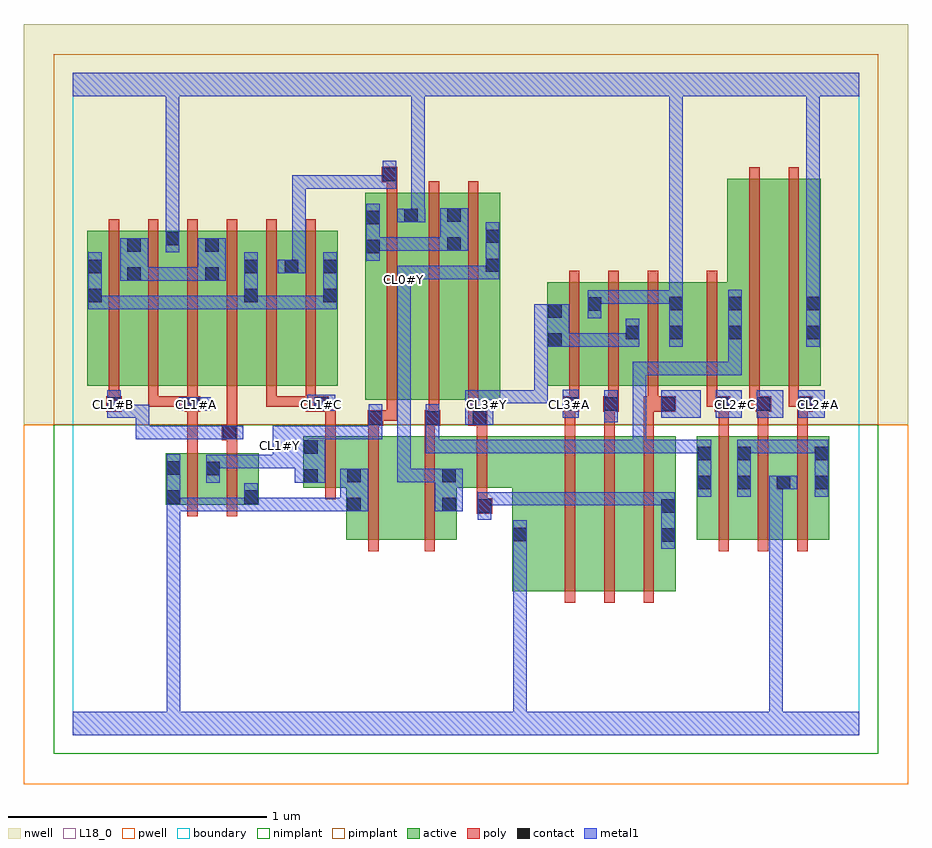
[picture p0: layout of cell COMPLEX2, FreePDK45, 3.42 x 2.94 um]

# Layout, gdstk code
import gdstk
lib = gdstk.Library(unit=1e-6, precision=1e-09)
def R(c, l, rs):  # rectangles x0, y0, x1, y1
    for r in rs: c.add(gdstk.rectangle(r[:2], r[2:], *l))
def A(c, l, x, y, w, h, nx, ny, dx, dy):  # array of equal rectangles
    R(c, l, [(x+i*dx, y+j*dy, x+i*dx+w, y+j*dy+h) for i in range(nx) for j in range(ny)])
active = (1, 0)
pwell = (2, 0)
nwell = (3, 0)
nimplant = (4, 0)
pimplant = (5, 0)
poly = (9, 0)
contact = (10, 0)
metal1 = (11, 0)
L18_0 = (18, 0)
boundary = (235, 0)

complex2 = lib.new_cell('COMPLEX2')
A(complex2, active, 0.356, 1.35, 0.06, 0.6, 3, 1, 0.152, 0)
R(complex2, active, [(1.698,0.556,1.998,1.156), (1.998,0.556,2.15,1.156), (2.15,0.556,2.33,1.156), (2.27,0.556,2.33,1.156), (1.698,0.684,1.758,1.028), (1.058,0.756,1.304,1.156), (1.304,0.756,1.484,1.156), (1.424,0.756,1.484,1.156), (2.412,0.756,2.472,1.156), (2.412,0.756,2.624,1.156), (2.564,0.756,2.776,1.156), (2.564,0.756,2.624,1.118), (2.716,0.756,2.924,1.156), (2.716,0.756,2.776,1.006), (2.864,0.756,2.924,1.156), (1.058,0.862,1.118,1.034), (0.36,0.89,0.42,1.09), (0.36,0.89,0.572,1.09), (0.512,0.89,0.72,1.09), (0.66,0.89,0.72,1.09), (0.512,0.892,0.572,1.088), (0.892,0.956,1.118,1.156), (0.892,0.956,0.952,1.156), (1.424,0.956,1.758,1.156), (1.13,1.296,1.19,2.044), (1.13,1.296,1.338,2.096), (1.278,1.296,1.504,2.096), (1.444,1.296,1.652,2.096), (1.592,1.296,1.652,2.044), (1.444,1.316,1.504,2.044), (0.056,1.35,0.116,1.95), (0.056,1.35,0.268,1.95), (0.208,1.35,0.268,1.95), (0.208,1.35,0.416,1.95), (0.356,1.35,0.568,1.95), (0.508,1.35,0.72,1.95), (0.66,1.35,0.876,1.95), (0.816,1.35,0.876,1.95), (0.816,1.35,1.024,1.95), (0.964,1.35,1.024,1.95), (1.834,1.35,1.894,1.75), (1.834,1.35,2.046,1.75), (1.986,1.35,2.194,1.75), (2.134,1.35,2.362,1.75), (2.302,1.35,2.362,1.75), (2.302,1.35,2.59,1.75), (2.53,1.35,2.71,2.15), (2.53,1.35,2.59,1.716), (2.71,1.35,2.89,2.15), (2.83,1.35,2.89,2.044), (1.278,1.426,1.338,2.044), (1.986,1.454,2.046,1.75), (2.134,1.526,2.194,1.644)])
R(complex2, pwell, [(-0.188,-0.188,3.228,1.2)])
R(complex2, nwell, [(-0.188,1.2,3.228,2.748)])
R(complex2, nimplant, [(-0.072,-0.072,3.112,1.2)])
R(complex2, pimplant, [(-0.072,1.2,3.112,2.632)])
A(complex2, poly, 1.902, 0.512, 0.04, 0.688, 3, 1, 0.152, 0)
A(complex2, poly, 2.496, 0.712, 0.04, 0.488, 3, 1, 0.152, 0)
A(complex2, poly, 1.902, 1.16, 0.04, 0.13, 3, 1, 0.152, 0)
A(complex2, poly, 2.496, 1.16, 0.04, 0.13, 3, 1, 0.152, 0)
A(complex2, poly, 2.48, 1.25, 0.06, 0.06, 3, 1, 0.16, 0)
A(complex2, poly, 0.14, 1.27, 0.04, 0.076, 3, 1, 0.152, 0)
A(complex2, poly, 1.918, 1.27, 0.04, 0.076, 3, 1, 0.152, 0)
A(complex2, poly, 2.48, 1.27, 0.04, 0.04, 3, 1, 0.16, 0)
A(complex2, poly, 0.14, 1.306, 0.04, 0.688, 6, 1, 0.152, 0)
A(complex2, poly, 1.918, 1.306, 0.04, 0.488, 3, 1, 0.152, 0)
R(complex2, poly, [(1.142,0.712,1.182,1.2), (1.36,0.712,1.4,1.2), (0.444,0.846,0.484,1.134), (0.596,0.846,0.636,1.134), (1.562,0.856,1.622,0.916), (1.562,0.876,1.602,0.952), (0.976,0.912,1.016,1.2), (1.562,0.912,1.602,1.2), (0.444,1.094,0.484,1.29), (0.596,1.094,0.636,1.18), (0.576,1.14,0.636,1.2), (0.596,1.16,0.636,1.2), (0.596,1.16,0.636,1.2), (0.596,1.16,0.636,1.346), (0.976,1.16,1.016,1.29), (1.142,1.16,1.182,1.236), (1.36,1.16,1.4,1.236), (1.562,1.16,1.602,1.236), (1.14,1.196,1.2,1.256), (1.36,1.196,1.42,1.256), (1.528,1.196,1.602,1.256), (1.562,1.196,1.602,1.236), (1.562,1.196,1.602,1.236), (1.16,1.216,1.2,1.256), (1.16,1.216,1.254,1.256), (1.214,1.216,1.254,1.292), (1.376,1.216,1.416,1.292), (1.376,1.216,1.416,1.256), (1.376,1.216,1.416,1.256), (1.528,1.216,1.568,1.292), (0.13,1.25,0.19,1.31), (0.434,1.25,0.494,1.31), (0.444,1.25,0.484,1.29), (0.444,1.25,0.484,1.29), (0.9,1.25,0.99,1.31), (0.95,1.25,0.99,1.29), (0.95,1.25,1.016,1.29), (1.898,1.25,1.958,1.31), (1.902,1.25,1.942,1.29), (1.902,1.25,1.942,1.29), (2.05,1.25,2.11,1.31), (2.054,1.25,2.094,1.29), (2.054,1.25,2.094,1.29), (2.206,1.25,2.33,1.31), (1.214,1.252,1.254,2.14), (1.376,1.252,1.416,2.14), (1.528,1.252,1.568,2.14), (0.14,1.27,0.18,1.31), (0.14,1.27,0.18,1.31), (0.292,1.27,0.332,1.31), (0.292,1.27,0.474,1.31), (0.434,1.27,0.474,1.31), (0.434,1.27,0.474,1.31), (0.748,1.27,0.788,1.346), (0.748,1.27,0.788,1.31), (0.748,1.27,0.94,1.31), (0.9,1.27,0.94,1.346), (0.9,1.27,0.94,1.31), (0.9,1.27,0.94,1.31), (2.222,1.27,2.262,1.31), (2.222,1.27,2.262,1.31), (2.45,1.27,2.49,1.346), (2.45,1.27,2.52,1.31), (2.614,1.27,2.654,1.346), (2.614,1.27,2.68,1.31), (2.766,1.27,2.806,1.346), (2.766,1.27,2.84,1.31), (2.45,1.306,2.49,1.794), (2.614,1.306,2.654,2.194), (2.766,1.306,2.806,2.194), (1.214,2.1,1.254,2.176), (1.194,2.136,1.254,2.196)])
A(complex2, contact, 2.416, 0.95, 0.052, 0.052, 3, 1, 0.152, 0)
A(complex2, contact, 2.484, 1.254, 0.052, 0.052, 3, 1, 0.16, 0)
R(complex2, contact, [(2.274,0.748,2.326,0.8), (1.702,0.75,1.754,0.802), (1.566,0.86,1.618,0.912), (2.274,0.86,2.326,0.912), (1.062,0.866,1.114,0.918), (1.428,0.866,1.48,0.918), (0.364,0.894,0.416,0.946), (0.664,0.894,0.716,0.946), (2.868,0.95,2.92,1.002), (0.896,0.976,0.948,1.028), (1.062,0.978,1.114,1.03), (1.428,0.978,1.48,1.03), (0.516,1.004,0.568,1.056), (0.364,1.006,0.416,1.058), (2.416,1.062,2.468,1.114), (2.568,1.062,2.62,1.114), (2.868,1.062,2.92,1.114), (0.896,1.088,0.948,1.14), (0.58,1.144,0.632,1.196), (1.144,1.2,1.196,1.252), (1.364,1.2,1.416,1.252), (1.546,1.2,1.598,1.252), (0.134,1.254,0.186,1.306), (0.438,1.254,0.49,1.306), (0.934,1.254,0.986,1.306), (1.902,1.254,1.954,1.306), (2.054,1.254,2.106,1.306), (2.274,1.254,2.326,1.306), (1.838,1.502,1.89,1.554), (2.138,1.53,2.19,1.582), (2.306,1.53,2.358,1.582), (2.534,1.53,2.586,1.582), (2.834,1.53,2.886,1.582), (1.838,1.614,1.89,1.666), (1.99,1.64,2.042,1.692), (2.306,1.642,2.358,1.694), (2.534,1.642,2.586,1.694), (2.834,1.642,2.886,1.694), (0.06,1.674,0.112,1.726), (0.664,1.674,0.716,1.726), (0.968,1.674,1.02,1.726), (0.212,1.756,0.264,1.808), (0.512,1.756,0.564,1.808), (0.06,1.786,0.112,1.838), (0.664,1.786,0.716,1.838), (0.82,1.786,0.872,1.838), (0.968,1.786,1.02,1.838), (1.596,1.79,1.648,1.842), (1.134,1.862,1.186,1.914), (0.212,1.868,0.264,1.92), (0.512,1.868,0.564,1.92), (1.448,1.872,1.5,1.924), (0.36,1.894,0.412,1.946), (1.596,1.902,1.648,1.954), (1.134,1.974,1.186,2.026), (1.282,1.982,1.334,2.034), (1.448,1.984,1.5,2.036), (1.198,2.14,1.25,2.192)])
A(complex2, metal1, 2.484, 1.226, 0.102, 0.108, 3, 1, 0.16, 0)
R(complex2, metal1, [(0,0,3.04,0.092), (0.364,0.04,0.416,0.092), (0.364,0.04,0.416,0.092), (0.364,0.04,0.416,0.092), (0.364,0.04,0.416,0.092), (0.364,0.04,0.416,0.092), (0.364,0.04,0.416,0.092), (0.364,0.04,0.416,0.092), (0.364,0.04,0.416,0.092), (0.364,0.04,0.416,0.092), (0.364,0.04,0.416,0.092), (0.364,0.04,0.416,0.918), (1.702,0.04,1.754,0.774), (2.692,0.04,2.744,0.092), (2.692,0.04,2.744,0.092), (2.692,0.04,2.744,0.092), (2.692,0.04,2.744,0.092), (2.692,0.04,2.744,0.092), (2.692,0.04,2.744,0.092), (2.692,0.04,2.744,0.092), (2.692,0.04,2.744,0.092), (2.692,0.04,2.744,0.092), (2.692,0.04,2.744,0.092), (2.692,0.04,2.744,0.092), (2.692,0.04,2.744,0.092), (2.692,0.04,2.744,1.002), (2.274,0.72,2.326,0.94), (1.702,0.722,1.754,0.774), (1.702,0.722,1.754,0.774), (1.702,0.722,1.754,0.774), (1.702,0.722,1.754,0.774), (1.702,0.722,1.754,0.774), (1.702,0.722,1.754,0.774), (1.702,0.722,1.754,0.774), (1.702,0.722,1.754,0.774), (1.702,0.722,1.754,0.83), (1.566,0.832,1.618,0.94), (0.364,0.866,0.416,0.918), (0.364,0.866,0.416,0.918), (0.364,0.866,0.416,0.918), (0.364,0.866,0.416,0.918), (0.364,0.866,0.416,0.918), (0.364,0.866,0.416,0.918), (0.364,0.866,0.416,0.918), (0.364,0.866,0.416,0.918), (0.364,0.866,0.416,1.086), (0.364,0.866,0.606,0.918), (0.554,0.866,0.606,0.918), (0.554,0.866,0.606,0.918), (0.554,0.866,0.606,0.918), (0.554,0.866,0.716,0.918), (0.664,0.866,0.716,0.974), (0.664,0.866,0.74,0.918), (0.688,0.866,0.74,0.918), (0.688,0.866,0.91,0.918), (0.858,0.866,0.91,0.918), (0.858,0.866,0.91,0.918), (0.858,0.866,0.91,0.918), (0.858,0.866,1.086,0.918), (1.034,0.866,1.142,1.03), (1.4,0.866,1.508,1.03), (1.566,0.888,1.778,0.94), (1.726,0.888,1.778,0.94), (1.726,0.888,1.778,0.94), (1.726,0.888,1.778,0.94), (1.726,0.888,1.888,0.94), (1.836,0.888,1.888,0.94), (1.836,0.888,2.08,0.94), (2.028,0.888,2.08,0.94), (2.028,0.888,2.08,0.94), (2.028,0.888,2.08,0.94), (2.028,0.888,2.216,0.94), (2.164,0.888,2.216,0.94), (2.164,0.888,2.216,0.94), (2.164,0.888,2.216,0.94), (2.164,0.888,2.326,0.94), (2.416,0.922,2.468,1.142), (2.568,0.922,2.62,1.142), (2.868,0.922,2.92,1.142), (2.692,0.95,2.8,1.002), (0.516,0.976,0.568,1.084), (0.858,0.976,0.976,1.14), (1.254,0.978,1.306,1.03), (1.254,0.978,1.452,1.03), (1.254,0.978,1.306,1.758), (1.4,0.978,1.452,1.03), (1.4,0.978,1.452,1.03), (0.516,1.032,0.568,1.084), (0.516,1.032,0.568,1.084), (0.516,1.032,0.716,1.084), (0.664,1.032,0.716,1.084), (0.664,1.032,0.716,1.084), (0.664,1.032,0.716,1.084), (0.664,1.032,0.91,1.084), (0.774,1.066,0.91,1.196), (0.858,1.066,0.91,1.118), (1.364,1.09,1.628,1.142), (1.364,1.09,1.416,1.224), (1.576,1.09,1.628,1.142), (1.576,1.09,1.628,1.142), (1.576,1.09,1.628,1.142), (1.576,1.09,1.888,1.142), (1.836,1.09,1.888,1.142), (1.836,1.09,1.888,1.142), (1.836,1.09,1.888,1.142), (1.836,1.09,2.08,1.142), (2.028,1.09,2.08,1.142), (2.028,1.09,2.08,1.142), (2.028,1.09,2.08,1.142), (2.028,1.09,2.216,1.142), (2.164,1.09,2.216,1.142), (2.164,1.09,2.216,1.142), (2.164,1.09,2.216,1.142), (2.164,1.09,2.326,1.142), (2.164,1.09,2.216,1.444), (2.274,1.09,2.326,1.142), (2.274,1.09,2.326,1.142), (2.274,1.09,2.326,1.142), (2.274,1.09,2.468,1.142), (2.568,1.09,2.746,1.142), (2.694,1.09,2.746,1.142), (2.694,1.09,2.746,1.142), (2.694,1.09,2.746,1.142), (2.694,1.09,2.856,1.142), (2.804,1.09,2.856,1.142), (2.804,1.09,2.92,1.142), (0.244,1.144,0.296,1.196), (0.244,1.144,0.296,1.196), (0.244,1.144,0.296,1.278), (0.244,1.144,0.426,1.196), (0.374,1.144,0.426,1.196), (0.374,1.144,0.426,1.196), (0.374,1.144,0.426,1.196), (0.374,1.144,0.604,1.196), (0.552,1.144,0.604,1.196), (0.552,1.144,0.604,1.196), (0.552,1.144,0.66,1.196), (0.858,1.144,0.91,1.196), (0.858,1.144,0.91,1.196), (0.858,1.144,1.086,1.196), (1.034,1.144,1.086,1.196), (1.034,1.144,1.196,1.196), (1.144,1.144,1.196,1.224), (1.144,1.172,1.196,1.224), (1.144,1.172,1.196,1.28), (1.364,1.172,1.416,1.224), (1.364,1.172,1.416,1.28), (1.518,1.2,1.626,1.334), (2.054,1.21,2.106,1.334), (0.134,1.226,0.296,1.278), (0.134,1.226,0.186,1.334), (1.894,1.226,1.956,1.336), (2.274,1.226,2.426,1.334), (0.41,1.254,0.534,1.306), (0.906,1.254,1.014,1.316), (1.574,1.282,1.626,1.334), (1.574,1.282,1.626,1.334), (1.574,1.282,1.836,1.334), (1.784,1.282,1.836,1.334), (1.784,1.282,1.836,1.554), (2.164,1.392,2.216,1.444), (2.164,1.392,2.326,1.444), (2.274,1.392,2.326,1.444), (2.274,1.392,2.326,1.444), (2.274,1.392,2.326,1.444), (2.274,1.392,2.476,1.444), (2.424,1.392,2.476,1.444), (2.424,1.392,2.586,1.444), (2.534,1.392,2.586,1.444), (2.534,1.392,2.586,1.444), (2.534,1.392,2.586,1.444), (2.534,1.392,2.586,1.554), (1.784,1.502,1.918,1.666), (1.866,1.502,1.918,1.554), (1.866,1.502,1.918,1.554), (1.866,1.502,2.028,1.554), (1.976,1.502,2.028,1.554), (1.976,1.502,2.028,1.554), (1.976,1.502,2.028,1.554), (1.976,1.502,2.19,1.554), (2.138,1.502,2.19,1.61), (2.306,1.502,2.358,1.722), (2.534,1.502,2.586,1.722), (2.834,1.502,2.886,1.722), (1.99,1.612,2.042,1.72), (0.06,1.646,0.112,1.698), (0.06,1.646,0.112,1.698), (0.06,1.646,0.112,1.866), (0.06,1.646,0.296,1.698), (0.244,1.646,0.296,1.698), (0.244,1.646,0.296,1.698), (0.244,1.646,0.296,1.698), (0.244,1.646,0.426,1.698), (0.374,1.646,0.426,1.698), (0.374,1.646,0.426,1.698), (0.374,1.646,0.426,1.698), (0.374,1.646,0.536,1.698), (0.484,1.646,0.536,1.698), (0.484,1.646,0.536,1.698), (0.484,1.646,0.536,1.698), (0.484,1.646,0.716,1.698), (0.664,1.646,0.716,1.698), (0.664,1.646,0.716,1.698), (0.664,1.646,0.716,1.866), (0.664,1.646,0.826,1.698), (0.774,1.646,0.826,1.698), (0.774,1.646,1.02,1.698), (0.968,1.646,1.02,1.698), (0.968,1.646,1.02,1.698), (0.968,1.646,1.02,1.866), (1.99,1.668,2.042,1.72), (1.99,1.668,2.042,1.72), (1.99,1.668,2.216,1.72), (2.164,1.668,2.216,1.72), (2.164,1.668,2.216,1.72), (2.164,1.668,2.216,1.72), (2.164,1.668,2.358,1.72), (2.306,1.67,2.358,1.722), (2.306,1.67,2.358,1.722), (2.306,1.67,2.358,1.722), (2.306,1.67,2.358,1.722), (2.306,1.67,2.358,1.722), (2.306,1.67,2.358,1.722), (2.306,1.67,2.358,1.722), (2.306,1.67,2.358,1.722), (2.306,1.67,2.358,2.52), (2.834,1.67,2.886,2.52), (1.254,1.706,1.306,1.814), (0.184,1.756,0.292,1.92), (0.24,1.756,0.306,1.808), (0.254,1.756,0.306,1.808), (0.254,1.756,0.426,1.808), (0.374,1.756,0.426,1.808), (0.374,1.756,0.426,1.808), (0.374,1.756,0.426,1.808), (0.374,1.756,0.536,1.808), (0.484,1.756,0.592,1.92), (1.254,1.762,1.306,1.814), (1.254,1.762,1.306,1.814), (1.254,1.762,1.46,1.814), (1.408,1.762,1.46,1.814), (1.408,1.762,1.46,1.814), (1.408,1.762,1.46,1.814), (1.408,1.762,1.46,1.814), (1.408,1.762,1.46,1.814), (1.408,1.762,1.648,1.814), (1.596,1.762,1.648,1.814), (1.596,1.762,1.648,1.814), (1.596,1.762,1.648,1.982), (0.792,1.786,0.9,1.838), (0.848,1.786,0.9,2.164), (1.134,1.834,1.186,2.054), (0.36,1.866,0.412,1.974), (1.134,1.872,1.226,1.924), (1.174,1.872,1.226,1.924), (1.174,1.872,1.306,1.924), (1.254,1.872,1.306,1.924), (1.254,1.872,1.306,1.924), (1.254,1.872,1.306,1.924), (1.254,1.872,1.46,1.924), (1.408,1.872,1.46,1.924), (1.408,1.872,1.472,1.924), (1.42,1.872,1.528,2.036), (0.36,1.922,0.412,2.52), (1.254,1.982,1.362,2.034), (1.308,1.982,1.36,2.52), (0.848,2.112,0.9,2.164), (0.848,2.112,1.02,2.164), (0.968,2.112,1.02,2.164), (0.968,2.112,1.02,2.164), (0.968,2.112,1.02,2.164), (0.968,2.112,1.02,2.164), (0.968,2.112,1.02,2.164), (0.968,2.112,1.13,2.164), (1.078,2.112,1.13,2.164), (1.078,2.112,1.13,2.164), (1.078,2.112,1.13,2.164), (1.078,2.112,1.25,2.164), (1.198,2.112,1.25,2.22), (0,2.468,3.04,2.56), (0.36,2.468,0.412,2.52), (0.36,2.468,0.412,2.52), (0.36,2.468,0.412,2.52), (0.36,2.468,0.412,2.52), (0.36,2.468,0.412,2.52), (0.36,2.468,0.412,2.52), (0.36,2.468,0.412,2.52), (0.36,2.468,0.412,2.52), (0.36,2.468,0.412,2.52), (0.36,2.468,0.412,2.52), (0.36,2.468,0.412,2.52), (0.36,2.468,0.412,2.52), (1.308,2.468,1.36,2.52), (1.308,2.468,1.36,2.52), (1.308,2.468,1.36,2.52), (1.308,2.468,1.36,2.52), (1.308,2.468,1.36,2.52), (1.308,2.468,1.36,2.52), (1.308,2.468,1.36,2.52), (1.308,2.468,1.36,2.52), (2.306,2.468,2.358,2.52), (2.306,2.468,2.358,2.52), (2.306,2.468,2.358,2.52), (2.306,2.468,2.358,2.52), (2.306,2.468,2.358,2.52), (2.306,2.468,2.358,2.52), (2.306,2.468,2.358,2.52), (2.306,2.468,2.358,2.52), (2.834,2.468,2.886,2.52), (2.834,2.468,2.886,2.52), (2.834,2.468,2.886,2.52), (2.834,2.468,2.886,2.52), (2.834,2.468,2.886,2.52), (2.834,2.468,2.886,2.52), (2.834,2.468,2.886,2.52), (2.834,2.468,2.886,2.52)])
A(complex2, L18_0, 2.484, 1.226, 0.102, 0.108, 3, 1, 0.16, 0)
A(complex2, L18_0, 2.374, 1.254, 0.052, 0.052, 4, 1, 0.16, 0)
R(complex2, L18_0, [(0,0,3.04,0.092), (0.364,0.04,0.416,0.092), (0.364,0.04,0.416,0.092), (0.364,0.04,0.416,0.092), (0.364,0.04,0.416,0.092), (0.364,0.04,0.416,0.092), (0.364,0.04,0.416,0.092), (0.364,0.04,0.416,0.092), (0.364,0.04,0.416,0.092), (0.364,0.04,0.416,0.092), (0.364,0.04,0.416,0.092), (0.364,0.04,0.416,0.918), (1.702,0.04,1.754,0.774), (2.692,0.04,2.744,0.092), (2.692,0.04,2.744,0.092), (2.692,0.04,2.744,0.092), (2.692,0.04,2.744,0.092), (2.692,0.04,2.744,0.092), (2.692,0.04,2.744,0.092), (2.692,0.04,2.744,0.092), (2.692,0.04,2.744,0.092), (2.692,0.04,2.744,0.092), (2.692,0.04,2.744,0.092), (2.692,0.04,2.744,0.092), (2.692,0.04,2.744,0.092), (2.692,0.04,2.744,1.002), (2.274,0.72,2.326,0.94), (1.702,0.722,1.754,0.83), (1.702,0.722,1.754,0.774), (1.702,0.722,1.754,0.774), (1.702,0.722,1.754,0.774), (1.702,0.722,1.754,0.774), (1.702,0.722,1.754,0.774), (1.702,0.722,1.754,0.774), (1.702,0.722,1.754,0.774), (1.702,0.722,1.754,0.774), (1.566,0.832,1.618,0.94), (0.364,0.866,0.416,0.918), (0.364,0.866,0.416,0.918), (0.364,0.866,0.416,0.918), (0.364,0.866,0.416,0.918), (0.364,0.866,0.416,0.918), (0.364,0.866,0.416,0.918), (0.364,0.866,0.416,0.918), (0.364,0.866,0.416,0.918), (0.364,0.866,0.416,1.086), (0.364,0.866,0.606,0.918), (0.554,0.866,0.716,0.918), (0.554,0.866,0.606,0.918), (0.554,0.866,0.606,0.918), (0.554,0.866,0.606,0.918), (0.664,0.866,0.716,0.974), (0.664,0.866,0.74,0.918), (0.688,0.866,0.74,0.918), (0.688,0.866,0.91,0.918), (0.858,0.866,0.91,0.918), (0.858,0.866,0.91,0.918), (0.858,0.866,0.91,0.918), (0.858,0.866,1.086,0.918), (1.034,0.866,1.142,1.03), (1.4,0.866,1.508,1.03), (1.566,0.888,1.778,0.94), (1.726,0.888,1.888,0.94), (1.726,0.888,1.778,0.94), (1.726,0.888,1.778,0.94), (1.726,0.888,1.778,0.94), (1.836,0.888,1.888,0.94), (1.836,0.888,2.08,0.94), (2.028,0.888,2.08,0.94), (2.028,0.888,2.08,0.94), (2.028,0.888,2.08,0.94), (2.028,0.888,2.216,0.94), (2.164,0.888,2.326,0.94), (2.164,0.888,2.216,0.94), (2.164,0.888,2.216,0.94), (2.164,0.888,2.216,0.94), (2.692,0.95,2.8,1.002), (0.516,0.976,0.568,1.084), (0.858,0.976,0.976,1.14), (1.254,0.978,1.306,1.03), (1.254,0.978,1.306,1.758), (1.254,0.978,1.452,1.03), (1.4,0.978,1.452,1.03), (1.4,0.978,1.452,1.03), (0.516,1.032,0.568,1.084), (0.516,1.032,0.568,1.084), (0.516,1.032,0.716,1.084), (0.664,1.032,0.716,1.084), (0.664,1.032,0.716,1.084), (0.664,1.032,0.716,1.084), (0.664,1.032,0.91,1.084), (0.774,1.066,0.91,1.196), (0.858,1.066,0.91,1.118), (0.774,1.094,0.826,1.146), (0.244,1.144,0.296,1.278), (0.244,1.144,0.296,1.196), (0.244,1.144,0.296,1.196), (0.244,1.144,0.426,1.196), (0.374,1.144,0.426,1.196), (0.374,1.144,0.426,1.196), (0.374,1.144,0.426,1.196), (0.374,1.144,0.604,1.196), (0.552,1.144,0.604,1.196), (0.552,1.144,0.604,1.196), (0.552,1.144,0.66,1.196), (0.858,1.144,0.91,1.196), (0.858,1.144,0.91,1.196), (0.858,1.144,1.086,1.196), (1.034,1.144,1.196,1.196), (1.034,1.144,1.086,1.196), (1.144,1.144,1.196,1.224), (1.144,1.172,1.196,1.28), (1.144,1.172,1.196,1.224), (1.518,1.2,1.626,1.334), (2.054,1.21,2.106,1.334), (0.134,1.226,0.186,1.334), (0.134,1.226,0.296,1.278), (1.894,1.226,1.956,1.336), (2.274,1.226,2.426,1.334), (0.134,1.254,0.186,1.306), (0.41,1.254,0.534,1.306), (0.454,1.254,0.506,1.306), (0.906,1.254,1.014,1.316), (0.934,1.254,0.986,1.306), (1.574,1.254,1.626,1.306), (1.894,1.254,1.946,1.306), (2.054,1.254,2.106,1.306), (1.574,1.282,1.626,1.334), (1.574,1.282,1.626,1.334), (1.574,1.282,1.836,1.334), (1.784,1.282,1.836,1.334), (1.784,1.282,1.836,1.554), (1.784,1.502,1.918,1.666), (1.866,1.502,2.028,1.554), (1.866,1.502,1.918,1.554), (1.866,1.502,1.918,1.554), (1.976,1.502,2.028,1.554), (1.976,1.502,2.028,1.554), (1.976,1.502,2.028,1.554), (1.976,1.502,2.19,1.554), (2.138,1.502,2.19,1.61), (2.306,1.502,2.358,1.722), (2.834,1.502,2.886,1.722), (1.99,1.612,2.042,1.72), (1.99,1.668,2.042,1.72), (1.99,1.668,2.042,1.72), (1.99,1.668,2.216,1.72), (2.164,1.668,2.216,1.72), (2.164,1.668,2.216,1.72), (2.164,1.668,2.216,1.72), (2.164,1.668,2.358,1.72), (2.306,1.67,2.358,1.722), (2.306,1.67,2.358,1.722), (2.306,1.67,2.358,1.722), (2.306,1.67,2.358,1.722), (2.306,1.67,2.358,1.722), (2.306,1.67,2.358,1.722), (2.306,1.67,2.358,1.722), (2.306,1.67,2.358,1.722), (2.306,1.67,2.358,2.52), (2.834,1.67,2.886,2.52), (1.254,1.706,1.306,1.814), (1.254,1.734,1.306,1.786), (1.254,1.762,1.306,1.814), (1.254,1.762,1.306,1.814), (1.254,1.762,1.46,1.814), (1.408,1.762,1.46,1.814), (1.408,1.762,1.46,1.814), (1.408,1.762,1.46,1.814), (1.408,1.762,1.46,1.814), (1.408,1.762,1.46,1.814), (1.408,1.762,1.648,1.814), (1.596,1.762,1.648,1.814), (1.596,1.762,1.648,1.814), (1.596,1.762,1.648,1.982), (0.792,1.786,0.9,1.838), (0.848,1.786,0.9,2.164), (0.36,1.866,0.412,1.974), (0.36,1.922,0.412,2.52), (1.254,1.982,1.362,2.034), (1.308,1.982,1.36,2.52), (0.848,2.112,0.9,2.164), (0.848,2.112,1.02,2.164), (0.968,2.112,1.13,2.164), (0.968,2.112,1.02,2.164), (0.968,2.112,1.02,2.164), (0.968,2.112,1.02,2.164), (0.968,2.112,1.02,2.164), (0.968,2.112,1.02,2.164), (1.078,2.112,1.13,2.164), (1.078,2.112,1.13,2.164), (1.078,2.112,1.13,2.164), (1.078,2.112,1.25,2.164), (1.198,2.112,1.25,2.22), (0,2.468,3.04,2.56), (0.36,2.468,0.412,2.52), (0.36,2.468,0.412,2.52), (0.36,2.468,0.412,2.52), (0.36,2.468,0.412,2.52), (0.36,2.468,0.412,2.52), (0.36,2.468,0.412,2.52), (0.36,2.468,0.412,2.52), (0.36,2.468,0.412,2.52), (0.36,2.468,0.412,2.52), (0.36,2.468,0.412,2.52), (0.36,2.468,0.412,2.52), (0.36,2.468,0.412,2.52), (1.308,2.468,1.36,2.52), (1.308,2.468,1.36,2.52), (1.308,2.468,1.36,2.52), (1.308,2.468,1.36,2.52), (1.308,2.468,1.36,2.52), (1.308,2.468,1.36,2.52), (1.308,2.468,1.36,2.52), (1.308,2.468,1.36,2.52), (2.306,2.468,2.358,2.52), (2.306,2.468,2.358,2.52), (2.306,2.468,2.358,2.52), (2.306,2.468,2.358,2.52), (2.306,2.468,2.358,2.52), (2.306,2.468,2.358,2.52), (2.306,2.468,2.358,2.52), (2.306,2.468,2.358,2.52), (2.834,2.468,2.886,2.52), (2.834,2.468,2.886,2.52), (2.834,2.468,2.886,2.52), (2.834,2.468,2.886,2.52), (2.834,2.468,2.886,2.52), (2.834,2.468,2.886,2.52), (2.834,2.468,2.886,2.52), (2.834,2.468,2.886,2.52)])
R(complex2, boundary, [(0,0,3.04,2.56)])
complex2.add(gdstk.Label('CL0#Y', (1.28,1.76), layer=11, texttype=0))
complex2.add(gdstk.Label('CL1#A', (0.48,1.28), layer=11, texttype=0))
complex2.add(gdstk.Label('CL1#B', (0.16,1.28), layer=11, texttype=0))
complex2.add(gdstk.Label('CL1#C', (0.96,1.28), layer=11, texttype=0))
complex2.add(gdstk.Label('CL1#Y', (0.8,1.12), layer=11, texttype=0))
complex2.add(gdstk.Label('CL2#A', (2.88,1.28), layer=11, texttype=0))
complex2.add(gdstk.Label('CL2#B', (2.72,1.28), layer=11, texttype=0))
complex2.add(gdstk.Label('CL2#C', (2.56,1.28), layer=11, texttype=0))
complex2.add(gdstk.Label('CL3#A', (1.92,1.28), layer=11, texttype=0))
complex2.add(gdstk.Label('CL3#B', (2.08,1.28), layer=11, texttype=0))
complex2.add(gdstk.Label('CL3#C', (2.4,1.28), layer=11, texttype=0))
complex2.add(gdstk.Label('CL3#Y', (1.6,1.28), layer=11, texttype=0))

lib.write_gds('COMPLEX2.gds')
